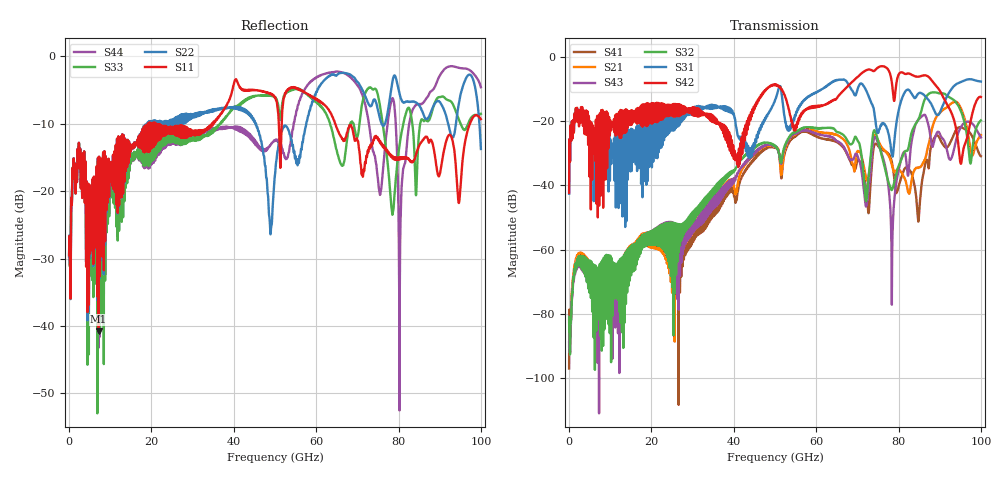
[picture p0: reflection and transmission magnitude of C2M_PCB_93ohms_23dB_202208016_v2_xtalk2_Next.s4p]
! Info: Touchstone file created by Circ.  Input file=Intel_C2M_200G_9p0in_202208016_staggered.circ
# Hz S RI R 50
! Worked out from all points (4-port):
!   10000 points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, 10 MHz to 100 GHz, reference 50 ohm
!   strongest paths, dB at 10 MHz, 25.01 GHz, 50.01 GHz, 75.01 GHz, 100 GHz:
!     S42: -42.3, -16.9, -8.6, -3.4, -12.5
!     S31: -42.6, -20.9, -13.5, -23.6, -7.7
!     S32: -80.9, -62.9, -27.8, -26.1, -19.8
!     S43: -88.8, -58.7, -28.0, -26.8, -25.1
!     S21: -82.0, -68.9, -28.0, -26.0, -24.4
!     S41: -97.0, -60.1, -28.2, -27.7, -30.9
!   lowest |S11| = -40.8 dB at 7.16 GHz (marker M1), VSWR 1.02, Z = 49.5 - j0.767 ohm
!   |S11| at or under -10 dB: start of sweep to 19.13 GHz; 21.11 GHz to 34.67 GHz (13.56 GHz wide, 48.6 % of centre); 64.66 GHz to 97.34 GHz (32.67 GHz wide, 40.3 % of centre)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
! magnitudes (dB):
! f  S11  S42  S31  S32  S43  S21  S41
! 10 MHz  -29.5  -42.3  -42.6  -80.9  -88.8  -82.0  -97.0
! 7.16 GHz  -40.8  -18.4  -21.1  -66.3  -71.2  -67.7  -71.2
! 56.46 GHz  -5.0  -17.6  -14.3  -22.3  -23.0  -22.4  -23.3
! 74.54 GHz  -11.8  -3.9  -21.3  -23.8  -25.3  -24.7  -27.1
! 78.42 GHz  -14.9  -8.4  -30.3  -41.4  -65.6  -33.8  -33.1
! 85.06 GHz  -13.2  -6.2  -11.3  -18.9  -19.3  -34.5  -47.3
! 100 GHz  -9.3  -12.5  -7.7  -19.8  -25.1  -24.4  -30.9
